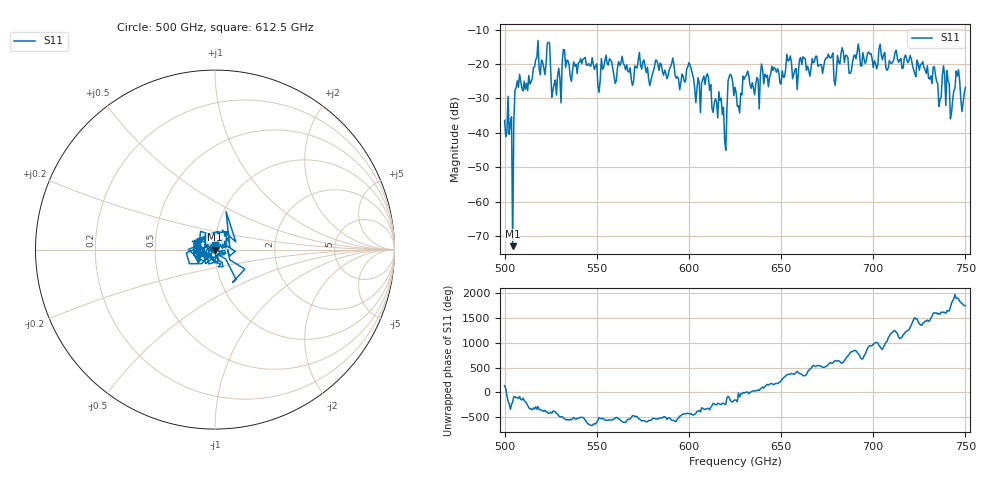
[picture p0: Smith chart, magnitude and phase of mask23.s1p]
!Created with skrf (http://scikit-rf.org).
# GHz S MA R 50.0
!freq magS11 angS11
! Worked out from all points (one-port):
!   401 points, 500 GHz to 750 GHz, reference 50 ohm
!   lowest |S11| = -72.9 dB at 504.4 GHz (marker M1), VSWR 1.00, Z = 50 + j0.00237 ohm
!   |S11| at or under -10 dB: start of sweep to end of sweep
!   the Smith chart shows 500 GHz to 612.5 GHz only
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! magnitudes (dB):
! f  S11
! 500 GHz  -36.4
! 504.4 GHz  -72.9
! 507.5 GHz  -26.8
! 523.8 GHz  -13.7
! 526.9 GHz  -25.8
! 531.2 GHz  -19.4
! 562.5 GHz  -20.4
! 579.4 GHz  -24.9
! 590.6 GHz  -19.9
! 593.8 GHz  -23.6
! 600 GHz  -19.6
! 605 GHz  -23.9
! 609.4 GHz  -23.6
! 619.4 GHz  -42.3
! 622.5 GHz  -23.0
! 625 GHz  -26.7
! 656.2 GHz  -24.3
! 680 GHz  -22.4
! 683.8 GHz  -16.4
! 687.5 GHz  -22.7
! 691.2 GHz  -16.7
! 718.8 GHz  -19.6
! 733.8 GHz  -23.1
! 735.6 GHz  -32.3
! 738.8 GHz  -23.3
! 743.1 GHz  -30.2
! 745.6 GHz  -23.5
! 750 GHz  -26.8
